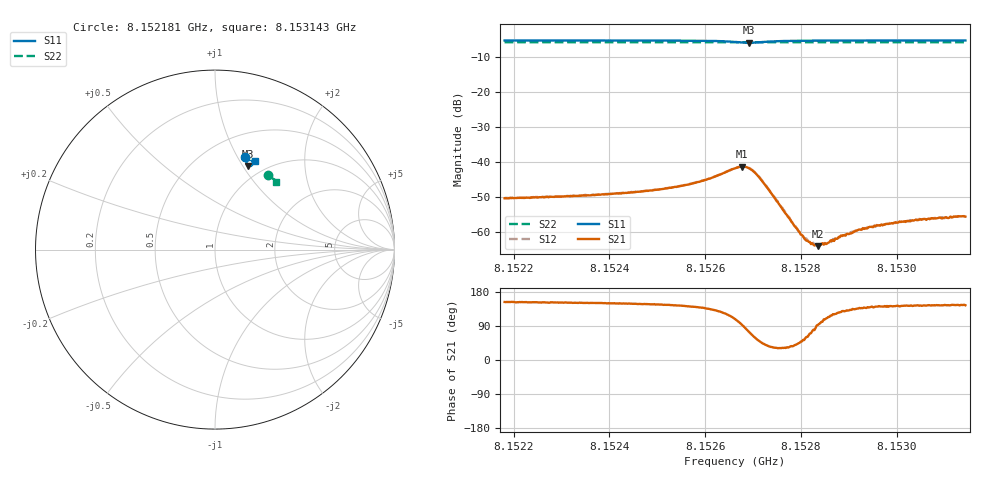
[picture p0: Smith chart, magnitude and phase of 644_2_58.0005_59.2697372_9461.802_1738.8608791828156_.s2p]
#  HZ  S  RI  R  50.00
! Rohde & Schwarz Vector Network Analyzer
! Rohde-Schwarz,ZNB20-2Port,1311601062101988,3.16
! Created: UTC 3/21/2024, 1:19:10 AM
! freq[Hz]  re:S11  im:S11  re:S21  im:S21  re:S12  im:S12  re:S22  im:S22
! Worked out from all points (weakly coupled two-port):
!   401 points, 8.152181 GHz to 8.153143 GHz, reference 50 ohm
!   highest |S21| = -41.25 dB at 8.152677 GHz (marker M1); lowest = -63.9 dB at 8.152835 GHz (marker M2)
!   lowest |S11| = -6.0 dB at 8.152691 GHz (marker M3), VSWR 3.01, Z = 42.5 + j52.9 ohm
!   |S11| at or under -10 dB: nowhere
!   |S22| runs from -5.9 to -5.8 dB; largest |S21 - S12| = 0.00014
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8.1521814e9  0.1694 0.5133  -0.00274 0.00139  -0.00273 0.00145  0.2957 0.4175
8.1523425e9  0.1816 0.5091  -0.00294 0.00162  -0.00292 0.0017  0.3042 0.4115
8.152429e9  0.1884 0.5064  -0.00313 0.00186  -0.00314 0.00192  0.3085 0.4081
8.1525036e9  0.1952 0.5033  -0.0034 0.00227  -0.00339 0.00235  0.3122 0.4049
8.1525613e9  0.2014 0.4992  -0.00375 0.00294  -0.00376 0.00299  0.3151 0.4026
8.152595e9  0.2055 0.495  -0.00402 0.00367  -0.00402 0.00375  0.3169 0.401
8.1526623e9  0.207 0.4719  -0.00256 0.00779  -0.0025 0.00786  0.3197 0.3977
8.1526767e9  0.1984 0.4654  -0.000461 0.00865  -0.000385 0.00871  0.32 0.397
8.1526911e9  0.1858 0.4658  0.00218 0.00794  0.00226 0.00801  0.3201 0.3967
8.1527032e9  0.1778 0.4728  0.0036 0.0062  0.00369 0.00626  0.3206 0.3965
8.1527176e9  0.1754 0.483  0.00387 0.00399  0.00398 0.004  0.3213 0.3962
8.1528041e9  0.194 0.5003  0.000533 0.000708  0.000554 0.000695  0.3265 0.3932
8.1528186e9  0.1963 0.5005  0.000252 0.000689  0.000266 0.000646  0.327 0.3928
8.1528234e9  0.1969 0.5004  0.000169 0.000682  0.000203 0.00066  0.3273 0.3924
8.1528354e9  0.1986 0.5005  -3.21e-05 0.000638  1.07e-05 0.000682  0.3279 0.3918
8.152857e9  0.2013 0.5  -0.000286 0.000659  -0.000276 0.000667  0.329 0.3909
8.1528811e9  0.2041 0.4996  -0.000508 0.000693  -0.000499 0.000719  0.3301 0.3899
8.1529171e9  0.2076 0.4987  -0.000763 0.000748  -0.000778 0.000762  0.332 0.3884
8.152958e9  0.2113 0.4975  -0.000975 0.000794  -0.000965 0.00084  0.3339 0.3866
8.1529845e9  0.2134 0.4969  -0.00105 0.000817  -0.00108 0.00083  0.3353 0.3854
8.1530542e9  0.219 0.495  -0.00125 0.00092  -0.00124 0.000925  0.3385 0.3826
8.1531432e9  0.2255 0.4925  -0.00137 0.000977  -0.00138 0.000989  0.3426 0.3786
